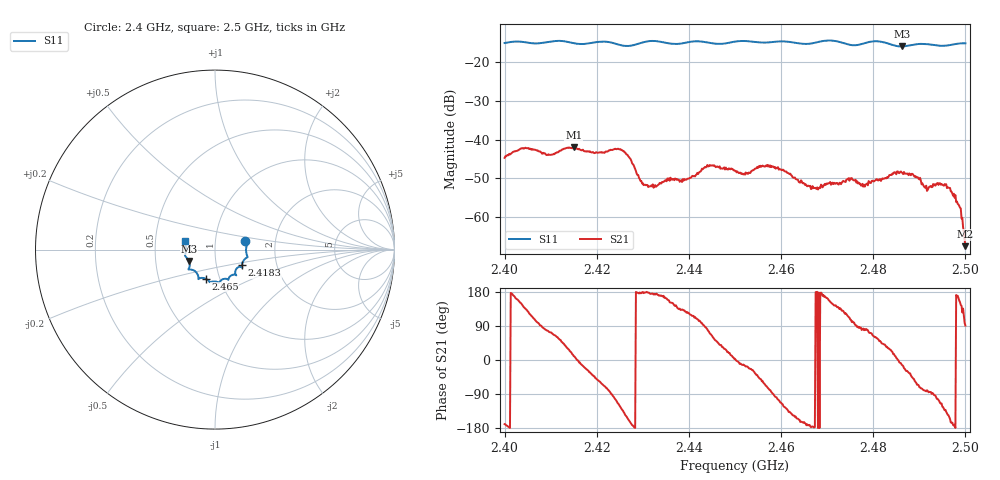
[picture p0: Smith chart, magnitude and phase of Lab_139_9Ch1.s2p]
# Hz S RI R 50
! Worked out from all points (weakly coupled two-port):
!   601 points, 2.4 GHz to 2.5 GHz, reference 50 ohm
!   highest |S21| = -42.02 dB at 2.415 GHz (marker M1); lowest = -67.5 dB at 2.5 GHz (marker M2)
!   lowest |S11| = -16.0 dB at 2.4862 GHz (marker M3), VSWR 1.38, Z = 37.1 - j4.83 ohm
!   |S11| at or under -10 dB: start of sweep to end of sweep
!   S12 and S22 are empty: the file has one direction only
!   S11 on the Smith chart (normalised r, x): 2.4 GHz: 1.40, +0.13; 2.4183 GHz: 1.33, -0.24; 2.465 GHz: 0.86, -0.29; 2.5 GHz: 0.71, +0.07
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2.4e9  0.1689 0.0458  -0.00571 -0.00109  0 0  0 0
2.404e9  0.1787 0.027  -0.00615 0.00476  0 0  0 0
2.4095e9  0.1778 -0.0317  0.00156 0.00627  0 0  0 0
2.415e9  0.1656 -0.0526  0.00779 0.00142  0 0  0 0
2.416667e9  0.1553 -0.0685  0.00712 -0.0015  0 0  0 0
2.418333e9  0.1498 -0.0871  0.00593 -0.00365  0 0  0 0
2.425333e9  0.1312 -0.0974  -0.00454 -0.00574  0 0  0 0
2.43e9  0.1141 -0.1368  -0.00274 3.1e-05  0 0  0 0
2.433333e9  0.1169 -0.1415  -0.00258 0.000369  0 0  0 0
2.4445e9  0.0653 -0.1633  0.00156 0.00444  0 0  0 0
2.45e9  0.0252 -0.1807  0.00394 0.000219  0 0  0 0
2.457833e9  -0.0167 -0.1785  0.000473 -0.00439  0 0  0 0
2.465e9  -0.0527 -0.1621  -0.00262 -0.000758  0 0  0 0
2.466667e9  -0.0713 -0.1575  -0.00233 -0.000167  0 0  0 0
2.474833e9  -0.1005 -0.1326  -0.00111 0.00274  0 0  0 0
2.478333e9  -0.1362 -0.1108  0.000491 0.00258  0 0  0 0
2.483333e9  -0.1422 -0.0959  0.00286 0.00171  0 0  0 0
2.486167e9  -0.1446 -0.0634  0.00368 -0.000803  0 0  0 0
2.4915e9  -0.1668 -0.0307  0.000325 -0.00253  0 0  0 0
2.496167e9  -0.1618 0.0184  -0.00197 -0.0014  0 0  0 0
2.4985e9  -0.1675 0.0392  -0.0014 0.00042  0 0  0 0
2.5e9  -0.167 0.0472  -5.49e-06 0.000424  0 0  0 0
